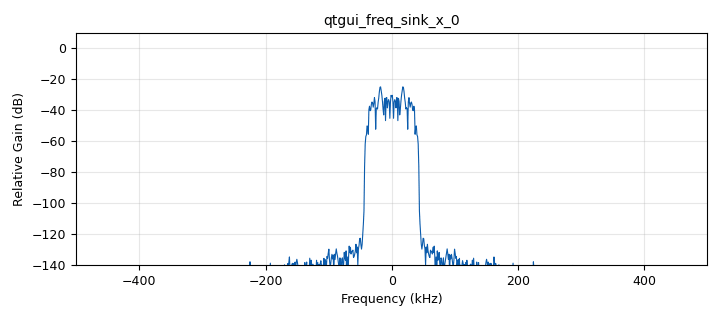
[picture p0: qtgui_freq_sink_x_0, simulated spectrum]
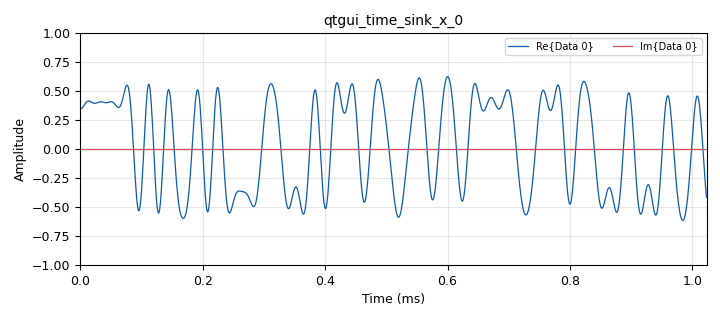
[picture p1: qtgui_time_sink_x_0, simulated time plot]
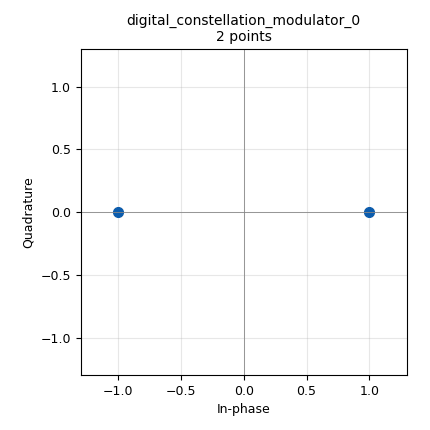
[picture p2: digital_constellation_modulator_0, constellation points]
options:
  parameters:
    generate_options: qt_gui
    id: amine
    output_language: python
    title: Not titled yet
  states: {}

blocks:
- name: alpha
  id: variable
  parameters:
    value: '0.01'
  states: {}
- name: center_freq
  id: variable
  parameters:
    value: '915000000'
  states: {}
- name: constellation
  id: variable_constellation
  parameters:
    precision: '8'
    type: bpsk
  states: {}
- name: samp_rate
  id: variable
  parameters:
    value: '1000000'
  states: {}
- name: sps
  id: variable
  parameters:
    value: '16'
  states: {}
- name: analog_random_uniform_source_x_0
  id: analog_random_uniform_source_x
  parameters:
    maximum: '2'
    minimum: '0'
    seed: '0'
    type: byte
  states: {}
- name: blocks_multiply_const_vxx_0
  id: blocks_multiply_const_vxx
  parameters:
    const: '0.4'
    type: complex
  states: {}
- name: blocks_unpacked_to_packed_xx_0
  id: blocks_unpacked_to_packed_xx
  parameters:
    bits_per_chunk: '1'
    endianness: gr.GR_MSB_FIRST
    type: byte
  states: {}
- name: digital_constellation_modulator_0
  id: digital_constellation_modulator
  parameters:
    constellation: constellation
    differential: 'True'
    excess_bw: '0.35'
    samples_per_symbol: sps
  states: {}
- name: qtgui_freq_sink_x_0
  id: qtgui_freq_sink_x
  parameters:
    bw: samp_rate
    fc: '0'
    fftsize: '1024'
    type: complex
  states: {}
- name: qtgui_time_sink_x_0
  id: qtgui_time_sink_x
  parameters:
    size: '1024'
    srate: samp_rate
    type: complex
  states: {}

connections:
- [analog_random_uniform_source_x_0, '0', blocks_unpacked_to_packed_xx_0, '0']
- [blocks_multiply_const_vxx_0, '0', qtgui_freq_sink_x_0, '0']
- [blocks_multiply_const_vxx_0, '0', qtgui_time_sink_x_0, '0']
- [blocks_unpacked_to_packed_xx_0, '0', digital_constellation_modulator_0, '0']
- [digital_constellation_modulator_0, '0', blocks_multiply_const_vxx_0, '0']

metadata:
  file_format: 1
